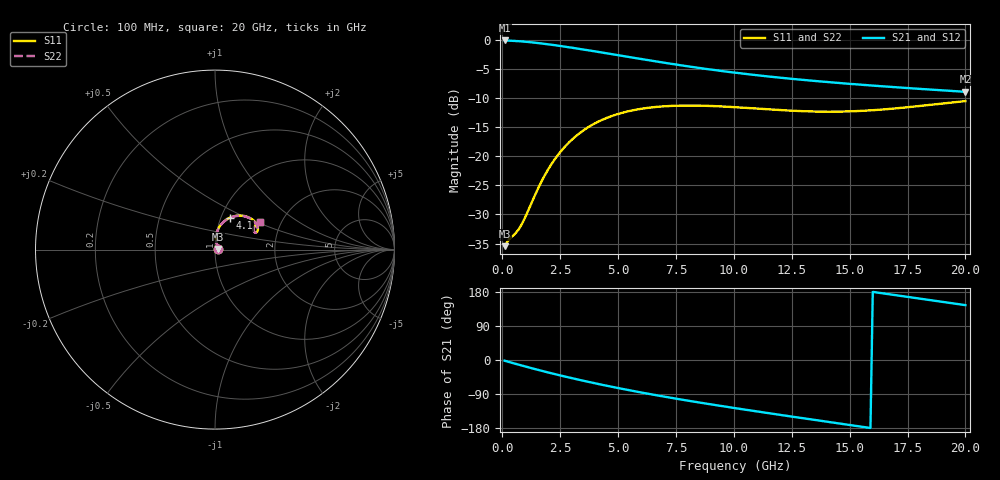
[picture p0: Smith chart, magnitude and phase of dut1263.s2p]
! Touchstone file exported from HFSS 2024.1.0
!  File:  C:/UserFiles/LocalFiles/RDL_TSV_Batchsim/temp_RDL_TSV_1263_1780272795.aedt
!  Generated:  08:27:08 AM Jun  1, 2026
!  Design:  RDL_TSV
!  Project:  temp_RDL_TSV_1263_1780272795
!  Setup:  Setup1
!  Solution:  Sweep
! Variables:
!  dtsv = 9.52um
!  hbump = 3um
!  htsv = 50.38um
!  ldown = 396.92um
!  lrdl = 570.94um
!  p = 40
!  p1 = 47.6um
!  rhole = 10um
!  subl = 3474.52um
!  t = 450um
!  tdown = 4.66um
!  trdl = 2.7um
!  viad = 10um
!  wdown = 21.76um
!  wrdl = 25.96um
!  xbump = 18um
# GHz S MA R 50.000000
! Terminal data exported
! Port[1] = TM1_1_T1
! Port[2] = TM1_4_T1
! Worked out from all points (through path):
!   200 points, 100 MHz to 20 GHz, reference 50 ohm
!   highest |S21| = -0.15 dB at 100 MHz (marker M1); lowest = -9.0 dB at 20 GHz (marker M2)
!   group delay of S21, straight-line fit = 28.4 ps
!   lowest |S11| = -35.5 dB at 100 MHz (marker M3), VSWR 1.03, Z = 51.7 + j0.352 ohm
!   |S11| at or under -10 dB: start of sweep to end of sweep
!   |S22| runs from -35.5 to -10.6 dB; largest |S21 - S12| = 9.2e-15
!   S11 on the Smith chart (normalised r, x): 100 MHz: 1.03, +0.01; 4.1 GHz: 1.10, +0.41; 20 GHz: 1.57, +0.53
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0.1  0.01688 11.6  0.9831 -1.8  0.9831 -1.8  0.01688 11.6
! Gamma 0 0 0 0
! Port Impedance 50 0 50 0
0.3  0.01937 25.9  0.9796 -5.4  0.9796 -5.4  0.01936 25.8
0.6  0.02211 44.2  0.9721 -10.5  0.9721 -10.5  0.0221 44.1
0.8  0.02518 57.2  0.9659 -13.9  0.9659 -13.9  0.02518 57.0
1.3  0.04126 79.3  0.946 -22.2  0.946 -22.2  0.04118 79.0
1.7  0.061 85.0  0.9264 -28.6  0.9264 -28.6  0.0608 84.8
2.2  0.08999 84.6  0.8991 -36.2  0.8991 -36.2  0.08964 84.5
2.8  0.1264 79.7  0.8642 -45.0  0.8642 -45.0  0.1258 79.5
3.5  0.1662 72.0  0.8224 -54.8  0.8224 -54.8  0.1654 71.8
4.1  0.1956 65.1  0.7867 -62.7  0.7867 -62.7  0.1947 65.0
4.7  0.2199 58.6  0.7519 -70.3  0.7519 -70.3  0.2188 58.5
5.3  0.2389 52.5  0.7183 -77.6  0.7183 -77.6  0.2376 52.4
6  0.2548 46.2  0.6812 -85.8  0.6812 -85.8  0.2534 46.1
6.8  0.266 39.9  0.642 -94.6  0.642 -94.6  0.2645 39.8
8.4  0.2714 30.5  0.5748 -111.1  0.5748 -111.1  0.2697 30.3
10.1  0.2627 24.6  0.5187 -127.4  0.5187 -127.4  0.2609 24.5
11.7  0.2505 22.7  0.4777 -142.1  0.4777 -142.1  0.2487 22.6
13.4  0.2416 24.0  0.4434 -157.3  0.4434 -157.3  0.2398 24.0
15  0.2422 26.9  0.4172 -171.5  0.4172 -171.5  0.2405 27.0
16.7  0.2539 30.1  0.3937 173.5  0.3937 173.5  0.2525 30.2
18.4  0.2743 31.7  0.3734 158.7  0.3734 158.7  0.273 31.8
20  0.2967 31.5  0.3564 144.7  0.3564 144.7  0.2956 31.6
